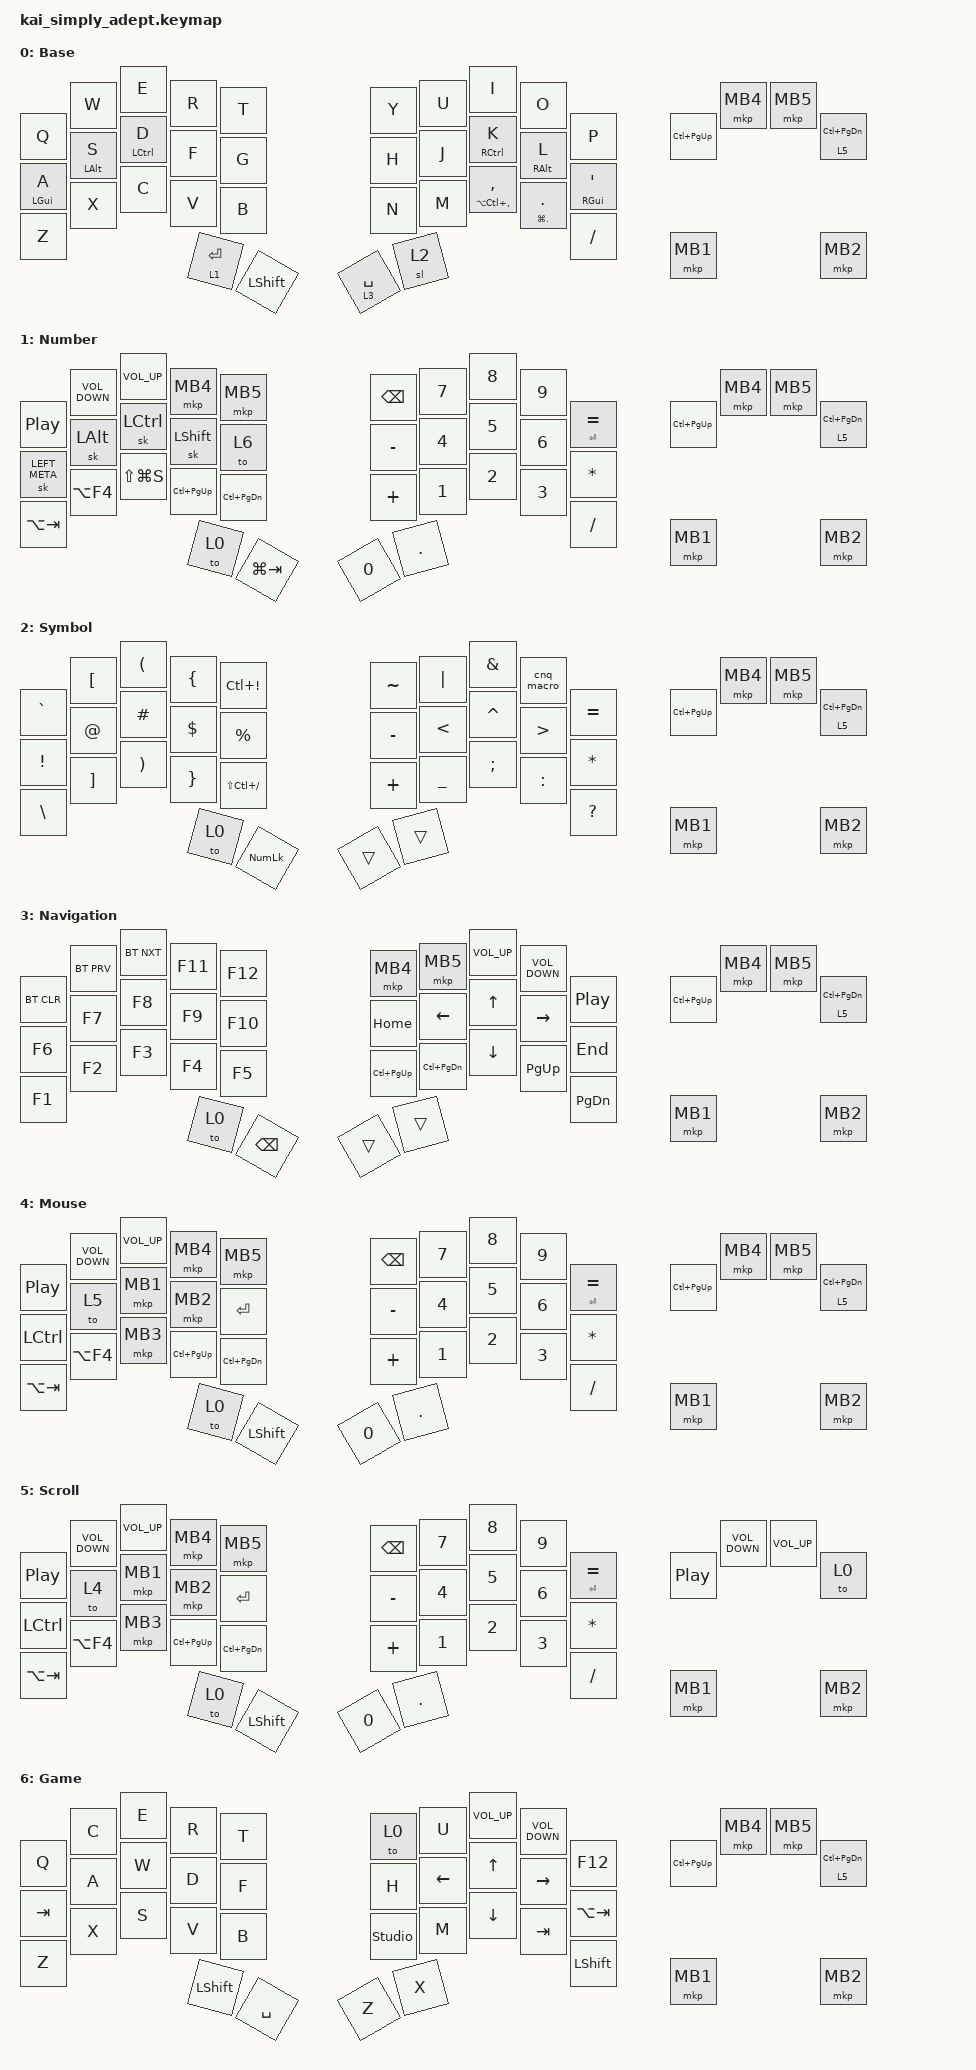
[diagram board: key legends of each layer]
/*
    No chosen zmk,matrix-transform here if using ZMK stuidio.
    https://zmk.dev/docs/features/studio#adding-zmk-studio-support-to-a-keyboard
*/
// keep all behavior settings for zmk studio
#define ZMK_BEHAVIORS_OMIT_KT

#include <behaviors.dtsi>
#include <dt-bindings/zmk/bt.h>
#include <input/processors.dtsi>
#include <dt-bindings/zmk/keys.h>
#include <dt-bindings/zmk/mouse.h>
#include <dt-bindings/zmk/outputs.h>
#include <dt-bindings/zmk/pointing.h>
#include <dt-bindings/zmk/input_transform.h>
#include <zephyr/dt-bindings/input/input-event-codes.h>

#define BASE 0
#define NUM 1
#define SYM 2
#define NAV 3
#define MOUSE 4
#define SCROLL 5
#define GAME 6

#define COMBO_REQUIRE_DELAY 100

&mt {
    //  flavor = "tap-preferred";
    // tapping_term_ms = <200>;

    flavor = "balanced";
    tapping-term-ms = <170>;
};

&sk { quick-release; };

&sl { release-after-ms = <1500>; };

/ {
    combos {
        compatible = "zmk,combos";

        combo_esc {
            timeout-ms = <50>;
            key-positions = <0 1>;
            bindings = <&kp ESC>;
        };

        combo_tab {
            timeout-ms = <50>;
            key-positions = <21 22>;
            bindings = <&kp TAB>;
            timeout-ms = <30>;
            layers = <0 1 2 3 4 5>;
        };

        combo_return {
            timeout-ms = <50>;
            key-positions = <27 28>;
            bindings = <&kp RETURN>;
            timeout-ms = <30>;
            layers = <0 1 2 3 4 5>;
        };

        combo_manager {
            timeout-ms = <50>;
            key-positions = <0 2>;
            bindings = <&kp LS(LC(ESCAPE))>;
        };

        combo_highlight {
            timeout-ms = <50>;
            key-positions = <16 19>;
            bindings = <&highlight_macro>;
            timeout-ms = <30>;
            layers = <0 1 2 3 4 5>;
        };

        combo_toggle1 {
            bindings = <&tog 1>;
            key-positions = <30 31>;
            layers = <0 1 2 3 4 5>;
        };

        combo_toggle3 {
            bindings = <&tog 3>;
            key-positions = <32 33>;
            layers = <0 1 2 3 4 5>;
        };

        combo_backspace_1 {
            bindings = <&kp BACKSPACE>;
            key-positions = <11 12>;
            timeout-ms = <30>;
            layers = <0 1 2 3 4 5>;
        };

        combo_delete_2 {
            bindings = <&kp DELETE>;
            key-positions = <12 13>;
            timeout-ms = <30>;
            layers = <0 1 2 3 4 5>;
        };

        combo_backspace_2 {
            bindings = <&kp BACKSPACE>;
            key-positions = <16 17>;
            timeout-ms = <30>;
            layers = <0 1 2 3 4 5>;
        };

        combo_delete_1 {
            bindings = <&kp DELETE>;
            key-positions = <17 18>;
            timeout-ms = <30>;
            layers = <0 1 2 3 4 5>;
        };

        combo_copy {
            bindings = <&kp LC(C)>;
            key-positions = <22 23>;
            timeout-ms = <30>;
            layers = <0 1 2 3 4 5>;
        };

        combo_toggle4 {
            bindings = <&tog 4>;
            key-positions = <14 24>;
            layers = <0 1 2 3>;
        };

        // trackball combos

        combo_mb3 {
            timeout-ms = <100>;
            key-positions = <38 39>;
            bindings = <&mkp MB3>;
        };

        combo_scroll_layer {
            timeout-ms = <70>;
            key-positions = <36 37>;
            bindings = <&to 5>;
            layers = <0 1 2 3 4>;
        };

        combo_trackball_esc {
            timeout-ms = <70>;
            key-positions = <34 35>;
            bindings = <&kp ESC>;
        };

        combo_close_tab {
            timeout-ms = <70>;
            key-positions = <35 36>;
            bindings = <&kp LC(W)>;
        };

        combo_switch_app {
            timeout-ms = <70>;
            key-positions = <34 38>;
            bindings = <&kp LA(TAB)>;
        };

        combo_close_app {
            timeout-ms = <70>;
            key-positions = <34 37>;
            bindings = <&kp LA(F4)>;
        };

        combo_ble_reset {
            timeout-ms = <150>;
            key-positions = <34 35 36 37>;
            bindings = <&bt BT_CLR>;
        };

        combo_bootloader {
            timeout-ms = <150>;
            key-positions = <34 37 38 39>;
            bindings = <&bootloader>;
        };
    };

    macros {
        cnq_macro: cnq_macro {
            compatible = "zmk,behavior-macro";
            #binding-cells = <0>;
            bindings = <&kp GRAVE &kp LBKT &kp GRAVE &kp RIGHT_BRACKET &kp LEFT_ARROW &kp LEFT_ARROW &kp DOWN_ARROW &kp DOWN_ARROW>;
            label = "CNQ_MACRO";
        };

        highlight_macro: highlight_macro {
            compatible = "zmk,behavior-macro";
            #binding-cells = <0>;
            bindings = <&kp HOME &kp LS(END)>;
            label = "HIGHLIGHT_MACRO";
        };
    };

    behaviors {
        holdtap_comma: holdtap_comma {
            compatible = "zmk,behavior-hold-tap";
            label = "HOLDTAP_COMMA";
            bindings = <&kp>, <&kp>;

            #binding-cells = <2>;
            tapping-term-ms = <200>;
            hold-trigger-key-positions = <29>;
            flavor = "hold-preferred";
        };

        holdtap_period: holdtap_period {
            compatible = "zmk,behavior-hold-tap";
            label = "HOLDTAP_PERIOD";
            bindings = <&kp>, <&kp>;

            #binding-cells = <2>;
            tapping-term-ms = <200>;
            hold-trigger-key-positions = <30>;
        };

        holdtap_equal_enter: holdtap_equal_enter {
            compatible = "zmk,behavior-hold-tap";
            label = "HOLDTAP_EQUAL_ENTER";
            bindings = <&kp>, <&kp>;

            #binding-cells = <2>;
            tapping-term-ms = <200>;
            hold-trigger-key-positions = <21>;
        };
    };

    keymap {
        compatible = "zmk,keymap";

        _BASE {
            display-name = "Base";
            bindings = <
&kp Q           &kp W           &kp E               &kp R        &kp T           &kp Y        &kp U  &kp I                               &kp O                              &kp P
&mt LEFT_GUI A  &mt LEFT_ALT S  &mt LEFT_CONTROL D  &kp F        &kp G           &kp H        &kp J  &mt RIGHT_CONTROL K                 &mt RIGHT_ALT L                    &mt RIGHT_GUI SQT
&kp Z           &kp X           &kp C               &kp V        &kp B           &kp N        &kp M  &holdtap_comma LA(LC(COMMA)) COMMA  &holdtap_period LG(PERIOD) PERIOD  &kp FSLH
                                                    &lt 1 ENTER  &kp LEFT_SHIFT  &lt 3 SPACE  &sl 2
                                                    //╭────────────────┬──────────┬─────────┬────────────────────────╮
                                                    //│  Left Tab      │ Previous │ Next    │ scroll_layer/Right Tab │
                                                        &kp LC(PAGE_UP)  &mkp MB4   &mkp MB5  &lt 5 LC(PAGE_DOWN)
                                                    //├────────────────┼──────────┼─────────┼────────────────────────┤
                                                    //│  Left Click    │          │         │ Right Click            │
                                                          &mkp MB1                             &mkp MB2
                                                    //╰────────────────┴──────────┴─────────┴────────────────────────╯
            >;
        };

        _NUM {
            display-name = "Number";
            bindings = <
&kp C_PLAY_PAUSE  &kp C_VOLUME_DOWN  &kp C_VOLUME_UP   &mkp MB4         &mkp MB5           &kp BACKSPACE  &kp N7        &kp N8        &kp N9        &holdtap_equal_enter ENTER EQUAL
&sk LEFT_META     &sk LEFT_ALT       &sk LEFT_CONTROL  &sk LEFT_SHIFT   &to 6              &kp MINUS      &kp NUMBER_4  &kp N5        &kp NUMBER_6  &kp ASTERISK
&kp LA(TAB)       &kp LA(F4)         &kp LS(LG(S))     &kp LC(PAGE_UP)  &kp LC(PAGE_DOWN)  &kp PLUS       &kp NUMBER_1  &kp NUMBER_2  &kp NUMBER_3  &kp FSLH
                                                       &to 0            &kp LG(TAB)        &kp N0         &kp DOT
                                                       //╭────────────────┬──────────┬─────────┬────────────────────────╮
                                                       //│  Left Tab      │ Previous │ Next    │ scroll_layer/Right Tab │
                                                           &kp LC(PAGE_UP)  &mkp MB4   &mkp MB5  &lt 5 LC(PAGE_DOWN)
                                                       //├────────────────┼──────────┼─────────┼────────────────────────┤
                                                       //│  Left Click    │          │         │ Right Click            │
                                                             &mkp MB1                             &mkp MB2
                                                       //╰────────────────┴──────────┴─────────┴────────────────────────╯
            >;
        };

        _SYM {
            display-name = "Symbol";
            bindings = <
&kp GRAVE        &kp LEFT_BRACKET   &kp LEFT_PARENTHESIS   &kp LEFT_BRACE   &kp LC(EXCLAMATION)  &kp TILDE  &kp PIPE        &kp AMPERSAND  &cnq_macro        &kp EQUAL
&kp EXCLAMATION  &kp AT_SIGN        &kp HASH               &kp DOLLAR       &kp PERCENT          &kp MINUS  &kp LESS_THAN   &kp CARET      &kp GREATER_THAN  &kp ASTERISK
&kp BACKSLASH    &kp RIGHT_BRACKET  &kp RIGHT_PARENTHESIS  &kp RIGHT_BRACE  &kp LS(LC(SLASH))    &kp PLUS   &kp UNDERSCORE  &kp SEMICOLON  &kp COLON         &kp QUESTION
                                                           &to 0            &kp KP_NUM           &trans     &trans
                                                           //╭────────────────┬──────────┬─────────┬────────────────────────╮
                                                           //│  Left Tab      │ Previous │ Next    │ scroll_layer/Right Tab │
                                                               &kp LC(PAGE_UP)  &mkp MB4   &mkp MB5  &lt 5 LC(PAGE_DOWN)
                                                           //├────────────────┼──────────┼─────────┼────────────────────────┤
                                                           //│  Left Click    │          │         │ Right Click            │
                                                                 &mkp MB1                             &mkp MB2
                                                           //╰────────────────┴──────────┴─────────┴────────────────────────╯
            >;
        };

        _NAV {
            display-name = "Navigation";
            bindings = <
&bt BT_CLR  &bt BT_PRV  &bt BT_NXT  &kp F11  &kp F12        &mkp MB4         &mkp MB5           &kp C_VOLUME_UP  &kp C_VOLUME_DOWN  &kp C_PLAY_PAUSE
&kp F6      &kp F7      &kp F8      &kp F9   &kp F10        &kp HOME         &kp LEFT           &kp UP           &kp RIGHT          &kp END
&kp F1      &kp F2      &kp F3      &kp F4   &kp F5         &kp LC(PAGE_UP)  &kp LC(PAGE_DOWN)  &kp DOWN         &kp PAGE_UP        &kp PAGE_DOWN
                                    &to 0    &kp BACKSPACE  &trans           &trans
                                    //╭────────────────┬──────────┬─────────┬────────────────────────╮
                                    //│  Left Tab      │ Previous │ Next    │ scroll_layer/Right Tab │
                                        &kp LC(PAGE_UP)  &mkp MB4   &mkp MB5  &lt 5 LC(PAGE_DOWN)
                                    //├────────────────┼──────────┼─────────┼────────────────────────┤
                                    //│  Left Click    │          │         │ Right Click            │
                                          &mkp MB1                             &mkp MB2
                                    //╰────────────────┴──────────┴─────────┴────────────────────────╯
            >;
        };

        _MOUSE {
            display-name = "Mouse";
            bindings = <
&kp C_PLAY_PAUSE  &kp C_VOLUME_DOWN  &kp C_VOLUME_UP  &mkp MB4         &mkp MB5           &kp BACKSPACE  &kp N7   &kp N8  &kp N9  &holdtap_equal_enter ENTER EQUAL
&kp LEFT_CONTROL  &to 5              &mkp MB1         &mkp MB2         &kp ENTER          &kp MINUS      &kp N4   &kp N5  &kp N6  &kp ASTERISK
&kp LA(TAB)       &kp LA(F4)         &mkp MB3         &kp LC(PAGE_UP)  &kp LC(PAGE_DOWN)  &kp PLUS       &kp N1   &kp N2  &kp N3  &kp FSLH
                                                      &to 0            &kp LSHIFT         &kp N0         &kp DOT
                                                      //╭────────────────┬──────────┬─────────┬────────────────────────╮
                                                      //│  Left Tab      │ Previous │ Next    │ scroll_layer/Right Tab │
                                                          &kp LC(PAGE_UP)  &mkp MB4   &mkp MB5  &lt 5 LC(PAGE_DOWN)
                                                      //├────────────────┼──────────┼─────────┼────────────────────────┤
                                                      //│  Left Click    │          │         │ Right Click            │
                                                            &mkp MB1                             &mkp MB2
                                                      //╰────────────────┴──────────┴─────────┴────────────────────────╯
            >;
        };

        _SCROLL {
            display-name = "Scroll";
            bindings = <
&kp C_PLAY_PAUSE  &kp C_VOLUME_DOWN  &kp C_VOLUME_UP  &mkp MB4         &mkp MB5           &kp BACKSPACE  &kp N7   &kp N8  &kp N9  &holdtap_equal_enter ENTER EQUAL
&kp LEFT_CONTROL  &to 4              &mkp MB1         &mkp MB2         &kp ENTER          &kp MINUS      &kp N4   &kp N5  &kp N6  &kp ASTERISK
&kp LA(TAB)       &kp LA(F4)         &mkp MB3         &kp LC(PAGE_UP)  &kp LC(PAGE_DOWN)  &kp PLUS       &kp N1   &kp N2  &kp N3  &kp FSLH
                                                      &to 0            &kp LSHIFT         &kp N0         &kp DOT
                                                      //╭─────────────────┬───────────────────┬────────────────┬─────────────────╮
                                                      //│  Play&Pause     │ Vol_down          │ Vol_up         │ to_0            │
                                                          &kp C_PLAY_PAUSE  &kp C_VOLUME_DOWN   &kp C_VOLUME_UP  &to 0
                                                      //├─────────────────┼───────────────────┼────────────────┼─────────────────┤
                                                      //│  Left Click     │                   │                │ Right Click     │
                                                            &mkp MB1                                             &mkp MB2     
                                                      //╰─────────────────┴───────────────────┴────────────────┴─────────────────╯
            >;
        };

        _GAME {
            display-name = "Game";
            bindings = <
&kp Q    &kp C  &kp E  &kp R       &kp T      &to 0           &kp U     &kp C_VOLUME_UP  &kp C_VOLUME_DOWN  &kp F12
&kp TAB  &kp A  &kp W  &kp D       &kp F      &kp H           &kp LEFT  &kp UP           &kp RIGHT          &kp LA(TAB)
&kp Z    &kp X  &kp S  &kp V       &kp B      &studio_unlock  &kp M     &kp DOWN         &kp TAB            &kp LSHIFT
                       &kp LSHIFT  &kp SPACE  &kp Z           &kp X
                       //╭────────────────┬──────────┬─────────┬────────────────────────╮
                       //│  Left Tab      │ Previous │ Next    │ scroll_layer/Right Tab │
                           &kp LC(PAGE_UP)  &mkp MB4   &mkp MB5  &lt 5 LC(PAGE_DOWN)
                       //├────────────────┼──────────┼─────────┼────────────────────────┤
                       //│  Left Click    │          │         │ Right Click            │
                             &mkp MB1                             &mkp MB2
                       //╰────────────────┴──────────┴─────────┴────────────────────────╯
            >;
        };

        _EXTRA1 { status = "reserved"; };

        _EXTRA2 { status = "reserved"; };
    };
};
